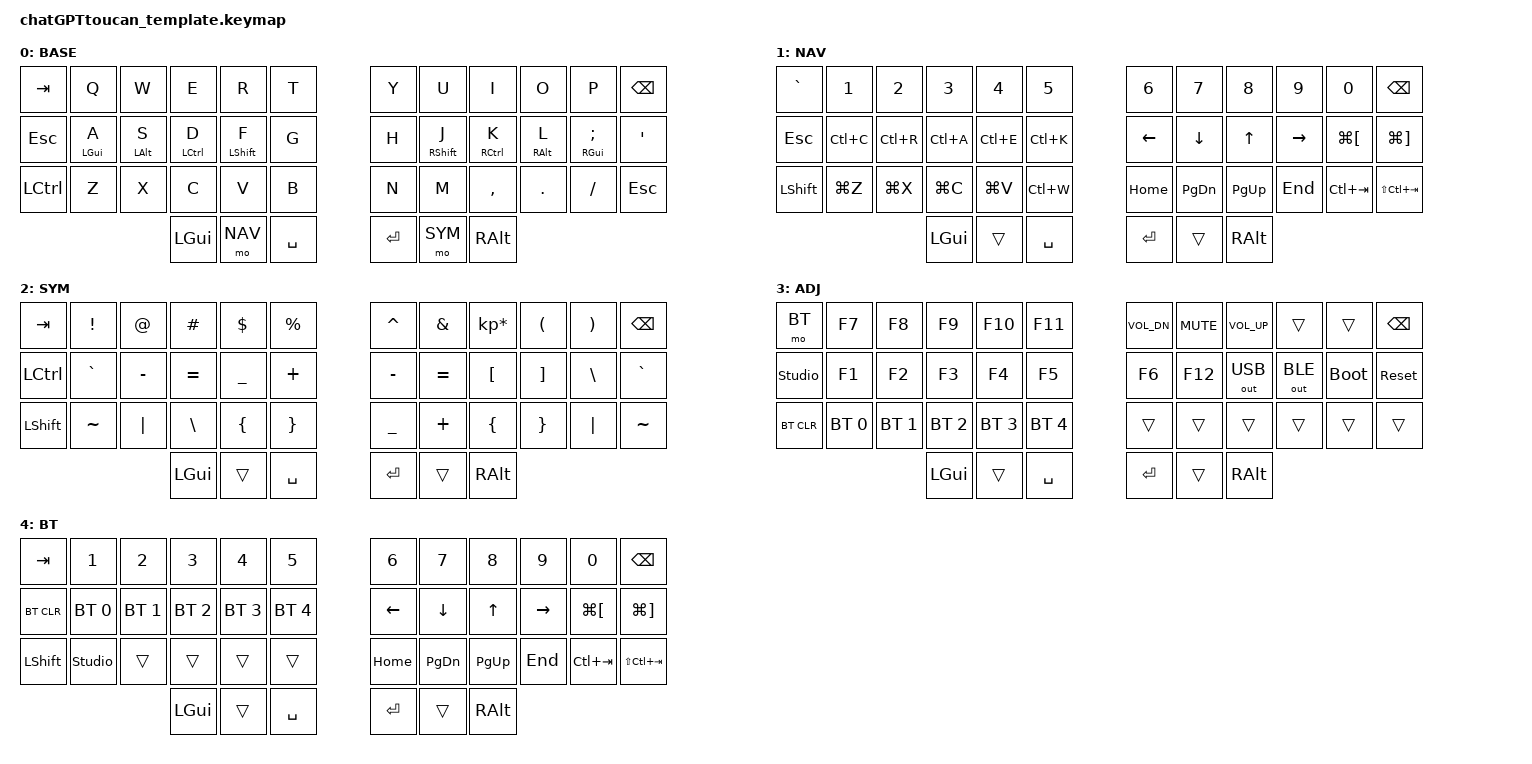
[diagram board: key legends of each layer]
#include <behaviors.dtsi>
#include <dt-bindings/zmk/keys.h>
#include <dt-bindings/zmk/bt.h>
#include <dt-bindings/zmk/outputs.h>
#include <dt-bindings/zmk/pointing.h>

#define BASE 0
#define NAV  1
#define SYM  2
#define ADJ  3
#define BT   4

/ {
    behaviors {
        hm: homerow_mods {
            compatible = "zmk,behavior-hold-tap";
            label = "HOMEROW_MODS";
            #binding-cells = <2>;

            flavor = "balanced";
            tapping-term-ms = <220>;
            quick-tap-ms = <175>;
            require-prior-idle-ms = <125>;

            bindings = <&kp>, <&kp>;
        };
    };

    conditional_layers {
        compatible = "zmk,conditional-layers";

        tri_layer {
            if-layers = <NAV SYM>;
            then-layer = <ADJ>;
        };
    };

    keymap {
        compatible = "zmk,keymap";

        base {
            display-name = "BASE";
            bindings = <
  &kp TAB    &kp Q        &kp W        &kp E         &kp R          &kp T                              &kp Y       &kp U          &kp I         &kp O        &kp P           &kp BSPC
  &kp ESC    &hm LGUI A   &hm LALT S   &hm LCTRL D   &hm LSHFT F    &kp G                              &kp H       &hm RSHFT J    &hm RCTRL K   &hm RALT L   &hm RGUI SEMI   &kp SQT
  &kp LCTRL  &kp Z        &kp X        &kp C         &kp V          &kp B                              &kp N       &kp M          &kp COMMA     &kp DOT      &kp FSLH        &kp ESC
                                                    &kp LGUI       &mo NAV      &kp SPACE     &kp RET   &mo SYM     &kp RALT
            >;
        };

        nav {
            display-name = "NAV";
            bindings = <
  &kp GRAVE  &kp N1       &kp N2       &kp N3        &kp N4         &kp N5                             &kp N6      &kp N7         &kp N8        &kp N9       &kp N0          &kp BSPC
  &kp ESC    &kp LC(C)    &kp LC(R)    &kp LC(A)     &kp LC(E)      &kp LC(K)                          &kp LEFT    &kp DOWN       &kp UP        &kp RIGHT    &kp LG(LBKT)    &kp LG(RBKT)
  &kp LSHFT  &kp LG(Z)    &kp LG(X)    &kp LG(C)     &kp LG(V)      &kp LC(W)                          &kp HOME    &kp PG_DN      &kp PG_UP     &kp END      &kp LC(TAB)     &kp LS(LC(TAB))
                                                    &kp LGUI       &trans      &kp SPACE     &kp RET   &trans      &kp RALT
            >;
        };

        sym {
            display-name = "SYM";
            bindings = <
  &kp TAB    &kp EXCL     &kp AT       &kp HASH      &kp DLLR       &kp PRCNT                          &kp CARET   &kp AMPS       &kp KP_MULTIPLY &kp LPAR    &kp RPAR        &kp BSPC
  &kp LCTRL  &kp GRAVE    &kp MINUS    &kp EQUAL     &kp UNDER      &kp PLUS                           &kp MINUS   &kp EQUAL      &kp LBKT      &kp RBKT     &kp BSLH        &kp GRAVE
  &kp LSHFT  &kp TILDE    &kp PIPE     &kp BSLH      &kp LBRC       &kp RBRC                           &kp UNDER   &kp PLUS       &kp LBRC      &kp RBRC     &kp PIPE        &kp TILDE
                                                    &kp LGUI       &trans      &kp SPACE     &kp RET   &trans      &kp RALT
            >;
        };

        adj {
            display-name = "ADJ";
            bindings = <
  &mo BT     &kp F7       &kp F8       &kp F9        &kp F10        &kp F11                            &kp C_VOL_DN &kp C_MUTE    &kp C_VOL_UP  &trans      &trans         &kp BSPC
  &studio_unlock &kp F1   &kp F2       &kp F3        &kp F4         &kp F5                             &kp F6       &kp F12       &out OUT_USB  &out OUT_BLE &bootloader    &sys_reset
  &bt BT_CLR &bt BT_SEL 0 &bt BT_SEL 1 &bt BT_SEL 2  &bt BT_SEL 3   &bt BT_SEL 4                       &trans       &trans        &trans        &trans      &trans         &trans
                                                    &kp LGUI       &trans      &kp SPACE     &kp RET   &trans      &kp RALT
            >;
        };

        bt {
            display-name = "BT";
            bindings = <
  &kp TAB    &kp N1       &kp N2       &kp N3        &kp N4         &kp N5                             &kp N6      &kp N7         &kp N8        &kp N9       &kp N0          &kp BSPC
  &bt BT_CLR &bt BT_SEL 0 &bt BT_SEL 1 &bt BT_SEL 2  &bt BT_SEL 3   &bt BT_SEL 4                       &kp LEFT    &kp DOWN       &kp UP        &kp RIGHT    &kp LG(LBKT)    &kp LG(RBKT)
  &kp LSHFT  &studio_unlock &trans     &trans        &trans         &trans                             &kp HOME    &kp PG_DN      &kp PG_UP     &kp END      &kp LC(TAB)     &kp LS(LC(TAB))
                                                    &kp LGUI       &trans      &kp SPACE     &kp RET   &trans      &kp RALT
            >;
        };

        extra_1 {
            status = "reserved";
        };

        extra_2 {
            status = "reserved";
        };

        extra_3 {
            status = "reserved";
        };
    };
};
